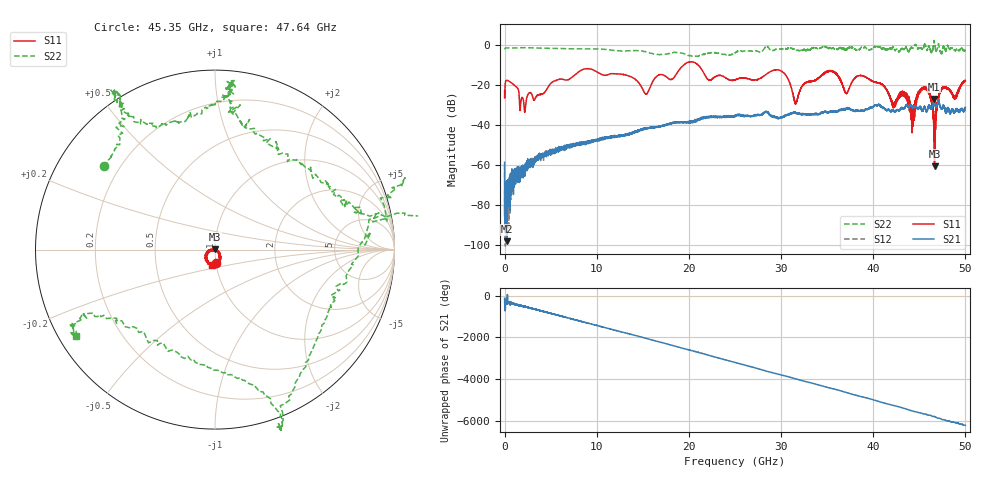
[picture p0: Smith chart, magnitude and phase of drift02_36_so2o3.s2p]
!Created with skrf (http://scikit-rf.org).
# Hz S RI R 50.0
!freq ReS11 ImS11 ReS21 ImS21 ReS12 ImS12 ReS22 ImS22
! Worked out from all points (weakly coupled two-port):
!   10001 points, 300 kHz to 50 GHz, reference 50 ohm
!   highest |S21| = -26.85 dB at 46.61 GHz (marker M1); lowest = -97.9 dB at 285.3 MHz (marker M2)
!   lowest |S11| = -60.6 dB at 46.65 GHz (marker M3), VSWR 1.00, Z = 50.1 + j0.0683 ohm
!   |S11| at or under -10 dB: start of sweep to 19.42 GHz; 21.00484 GHz to 21.0072 GHz (2.353 MHz wide, 0.0112 % of centre); 21.01 GHz to end of sweep
!   |S22| runs from -5.7 to 2.3 dB; largest |S21 - S12| = 0.004
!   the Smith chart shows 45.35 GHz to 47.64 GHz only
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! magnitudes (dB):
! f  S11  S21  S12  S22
! 300 kHz  -22.8  -58.5  -59.5  -2.2
! 285.3 MHz  -17.6  -97.9  -72.4  -1.4
! 2.18 GHz  -33.5  -62.7  -62.4  -1.3
! 8.335 GHz  -12.5  -49.1  -49.6  -1.9
! 15.34 GHz  -24.5  -41.4  -41.5  -3.3
! 16.67 GHz  -15.1  -40.8  -40.7  -4.7
! 20.29 GHz  -8.4  -38.3  -38.4  -5.5
! 25 GHz  -17.3  -35.1  -35.3  -3.9
! 29.84 GHz  -12.6  -36.6  -36.6  -2.0
! 31.6 GHz  -29.1  -33.9  -34.0  -2.5
! 33.34 GHz  -18.1  -34.5  -34.3  -1.6
! 35.59 GHz  -13.4  -33.2  -33.1  -1.6
! 37.1 GHz  -24.3  -31.8  -31.7  -2.3
! 38.77 GHz  -15.3  -32.7  -32.7  -1.0
! 41.67 GHz  -24.4  -32.2  -32.3  -1.9
! 43.44 GHz  -26.0  -31.0  -31.4  -1.8
! 44.25 GHz  -34.6  -31.1  -30.9  -1.5
! 45.69 GHz  -21.7  -32.5  -32.2  -0.6
! 46.61 GHz  -41.9  -26.9  -26.8  2.3
! 46.65 GHz  -60.6  -27.7  -27.9  0.8
! 47.47 GHz  -21.8  -31.5  -31.8  -3.3
! 50 GHz  -18.0  -31.1  -31.8  -2.7
